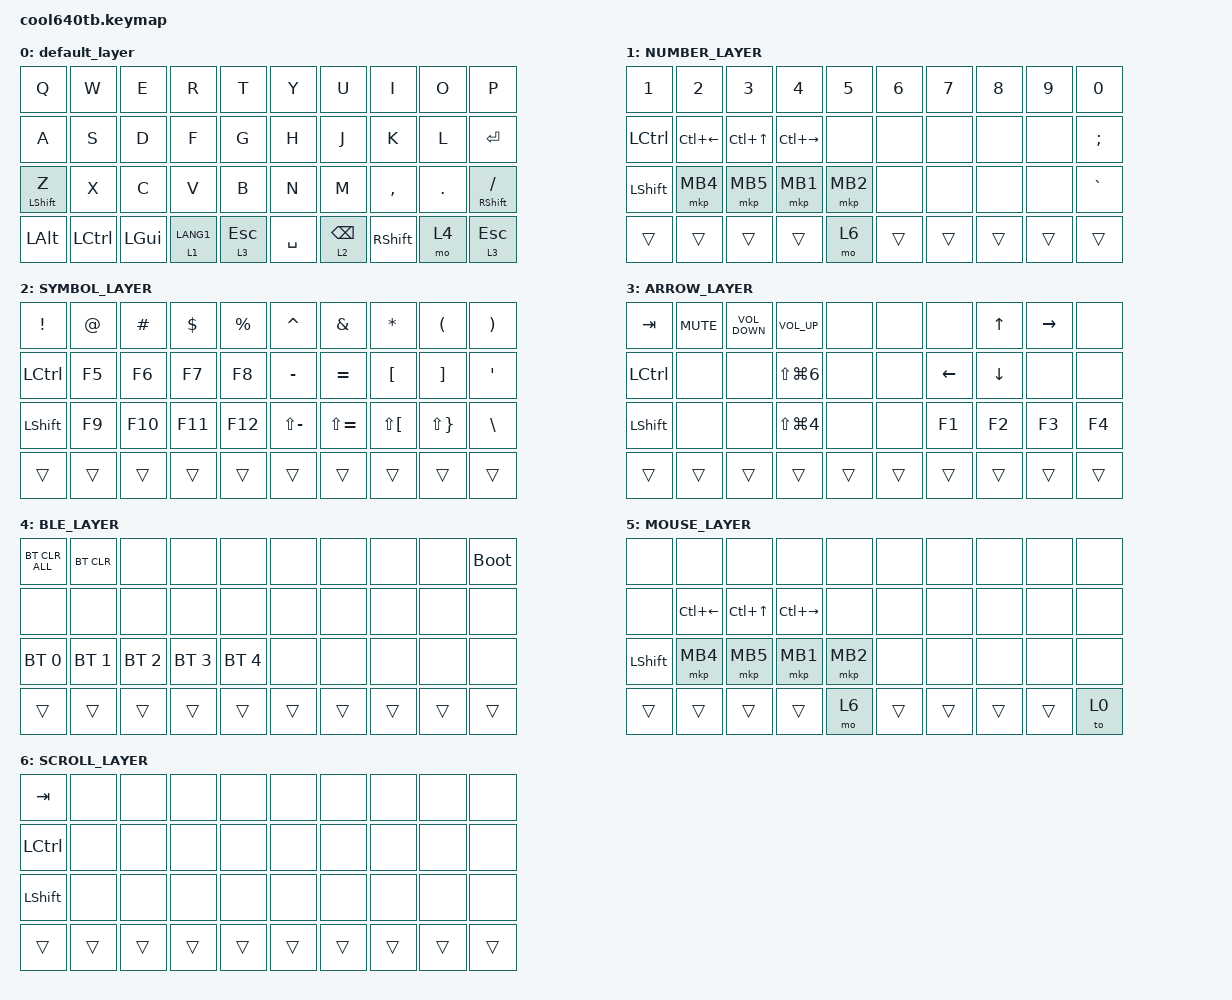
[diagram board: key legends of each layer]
// #define ZMK_POINTING_DEFAULT_MOVE_VAL 800 
// #define ZMK_POINTING_DEFAULT_SCRL_VAL 120

#include <behaviors.dtsi>
#include <dt-bindings/zmk/bt.h>
#include <dt-bindings/zmk/keys.h>
#include <dt-bindings/zmk/pointing.h>

// #include <dt-bindings/zmk/pointing.h>

#define MOUSE 4
#define SCROLL 5
#define NUM 6

&mt {
    flavor = "balanced";
    quick-tap-ms = <0>;
};

/ {
    combos {
        compatible = "zmk,combos";

        tab {
            bindings = <&kp ESCAPE>;
            key-positions = <0 1>;
            layers = <0>;
        };

        shift_tab {
            bindings = <&kp TAB>;
            key-positions = <10 11>;
            require-prior-idle-ms = <0>;
            layers = <0>;
        };

        double_quotation {
            bindings = <&kp CAPS>;
            key-positions = <20 21>;
            layers = <0>;
        };

        eq {
            bindings = <&bt BT_CLR_ALL>;
            key-positions = <8 9>;
            layers = <2>;
        };

        BS {
            bindings = <&kp BACKSPACE>;
            key-positions = <8 9>;
            layers = <0>;
        };
    };

    macros {
        to_layer_0: to_layer_0 {
            compatible = "zmk,behavior-macro-one-param";
            #binding-cells = <1>;
            bindings = <&to 0 &macro_param_1to1 &kp MACRO_PLACEHOLDER>;
            label = "TO_LAYER_0";
        };
    };

    behaviors {
        lt_to_layer_0: lt_to_layer_0 {
            compatible = "zmk,behavior-hold-tap";
            label = "LAYER_TAP_TO_0";
            bindings = <&mo>, <&to_layer_0>;

            #binding-cells = <2>;
            tapping-term-ms = <200>;
        };
    };

    keymap {
        compatible = "zmk,keymap";

        default_layer {
            bindings = <
&kp Q             &kp W      &kp E         &kp R        &kp T         &kp Y      &kp U            &kp I            &kp O       &kp P
&kp A             &kp S      &kp D         &kp F        &kp G         &kp H      &kp J            &kp K            &kp L       &kp ENTER
&mt LEFT_SHIFT Z  &kp X      &kp C         &kp V        &kp B         &kp N      &kp M            &kp COMMA        &kp PERIOD  &mt RIGHT_SHIFT SLASH
&kp LEFT_ALT      &kp LCTRL  &kp LEFT_GUI  &lt 1 LANG1  &lt 3 ESCAPE  &kp SPACE  &lt 2 BACKSPACE  &kp RIGHT_SHIFT  &mo 4       &lt 3 ESCAPE
            >;
        };

        NUMBER_LAYER {
            bindings = <
&kp N1          &kp N2              &kp N3            &kp N4         &kp N5    &kp N6  &kp N7  &kp N8  &kp N9  &kp N0
&kp LCTRL       &kp LC(LEFT_ARROW)  &kp LC(UP_ARROW)  &kp LC(RIGHT)  &none     &none   &none   &none   &none   &kp SEMICOLON
&kp LEFT_SHIFT  &mkp MB4            &mkp MB5          &mkp MB1       &mkp MB2  &none   &none   &none   &none   &kp GRAVE
&trans          &trans              &trans            &trans         &mo 6     &trans  &trans  &trans  &trans  &trans
            >;
        };

        SYMBOL_LAYER {
            bindings = <
&kp EXCLAMATION  &kp AT_SIGN  &kp HASH  &kp DOLLAR  &kp PERCENT  &kp CARET      &kp AMPERSAND  &kp ASTERISK          &kp LEFT_PARENTHESIS  &kp RIGHT_PARENTHESIS
&kp LCTRL        &kp F5       &kp F6    &kp F7      &kp F8       &kp MINUS      &kp EQUAL      &kp LEFT_BRACKET      &kp RIGHT_BRACKET     &kp SQT
&kp LEFT_SHIFT   &kp F9       &kp F10   &kp F11     &kp F12      &kp LS(MINUS)  &kp LS(EQUAL)  &kp LS(LEFT_BRACKET)  &kp LS(RIGHT_BRACE)   &kp BACKSLASH
&trans           &trans       &trans    &trans      &trans       &trans         &trans         &trans                &trans                &trans
            >;
        };

        ARROW_LAYER {
            bindings = <
&kp TAB         &kp C_MUTE  &kp C_VOLUME_DOWN  &kp C_VOLUME_UP       &none   &none   &none           &kp UP_ARROW    &kp RIGHT_ARROW  &none
&kp LCTRL       &none       &none              &kp LS(LG(NUMBER_6))  &none   &none   &kp LEFT_ARROW  &kp DOWN_ARROW  &none            &none
&kp LEFT_SHIFT  &none       &none              &kp LS(LG(NUMBER_4))  &none   &none   &kp F1          &kp F2          &kp F3           &kp F4
&trans          &trans      &trans             &trans                &trans  &trans  &trans          &trans          &trans           &trans
            >;
        };

        BLE_LAYER {
            bindings = <
&bt BT_CLR_ALL  &bt BT_CLR    &none         &none         &none         &none   &none   &none   &none   &bootloader
&none           &none         &none         &none         &none         &none   &none   &none   &none   &none
&bt BT_SEL 0    &bt BT_SEL 1  &bt BT_SEL 2  &bt BT_SEL 3  &bt BT_SEL 4  &none   &none   &none   &none   &none
&trans          &trans        &trans        &trans        &trans        &trans  &trans  &trans  &trans  &trans
            >;
        };

        MOUSE_LAYER {
            bindings = <
&none           &none               &none             &none          &none     &none   &none   &none   &none   &none
&none           &kp LC(LEFT_ARROW)  &kp LC(UP_ARROW)  &kp LC(RIGHT)  &none     &none   &none   &none   &none   &none
&kp LEFT_SHIFT  &mkp MB4            &mkp MB5          &mkp MB1       &mkp MB2  &none   &none   &none   &none   &none
&trans          &trans              &trans            &trans         &mo 6     &trans  &trans  &trans  &trans  &to 0
            >;
        };

        SCROLL_LAYER {
            bindings = <
&kp TAB         &none   &none   &none   &none   &none   &none   &none   &none   &none
&kp LCTRL       &none   &none   &none   &none   &none   &none   &none   &none   &none
&kp LEFT_SHIFT  &none   &none   &none   &none   &none   &none   &none   &none   &none
&trans          &trans  &trans  &trans  &trans  &trans  &trans  &trans  &trans  &trans
            >;
        };
    };
};
